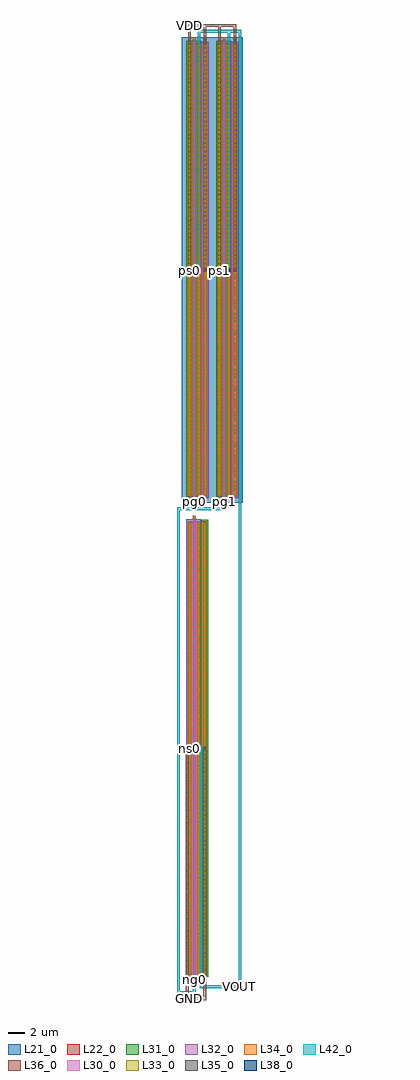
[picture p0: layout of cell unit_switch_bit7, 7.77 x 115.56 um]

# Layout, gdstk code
import gdstk
lib = gdstk.Library(unit=1e-6, precision=1e-09)
def R(c, l, rs):  # rectangles x0, y0, x1, y1
    for r in rs: c.add(gdstk.rectangle(r[:2], r[2:], *l))
def A(c, l, x, y, w, h, nx, ny, dx, dy):  # array of equal rectangles
    R(c, l, [(x+i*dx, y+j*dy, x+i*dx+w, y+j*dy+h) for i in range(nx) for j in range(ny)])
L21_0 = (21, 0)
L22_0 = (22, 0)
L30_0 = (30, 0)
L31_0 = (31, 0)
L32_0 = (32, 0)
L33_0 = (33, 0)
L34_0 = (34, 0)
L35_0 = (35, 0)
L36_0 = (36, 0)
L38_0 = (38, 0)
L42_0 = (42, 0)

unit_switch_bit7 = lib.new_cell('unit_switch_bit7')
R(unit_switch_bit7, L21_0, [(-1.15,-0.69,2.54,54.45), (2.39,-0.69,6.08,54.45)])
R(unit_switch_bit7, L22_0, [(-0.42,-56.62,0,-2.86), (0,-56.62,0.66,-2.86), (0.66,-56.62,1.08,-2.86), (1.08,-56.62,1.79,-2.86), (-0.46,0,0,53.76), (0,0,0.66,53.76), (0.66,0,1.12,53.76), (1.12,0,1.85,53.76), (3.08,0,3.54,53.76), (3.54,0,4.2,53.76), (4.2,0,4.66,53.76), (4.66,0,5.39,53.76)])
R(unit_switch_bit7, L30_0, [(0.15,-57.28,0.51,-56.92), (0.19,-56.92,0.47,-2.56), (0.15,-2.56,0.51,-2.2), (0.14,-0.68,0.52,-0.3), (3.68,-0.68,4.06,-0.3), (0.19,-0.3,0.47,54.06), (3.73,-0.3,4.01,54.06), (0.14,54.06,0.52,54.44), (3.68,54.06,4.06,54.44)])
R(unit_switch_bit7, L31_0, [(1.08,-56.79,1.96,-2.69), (-0.63,-0.24,1.12,54), (2.91,-0.24,4.66,54)])
R(unit_switch_bit7, L32_0, [(-0.59,-56.86,1.08,-2.62), (1.12,-0.17,2.02,53.93), (4.66,-0.17,5.56,53.93)])
A(unit_switch_bit7, L33_0, -0.32, -56.37, 0.22, 0.22, 1, 105, 0, 0.51)
A(unit_switch_bit7, L33_0, 0.76, -56.37, 0.22, 0.22, 1, 105, 0, 0.51)
A(unit_switch_bit7, L33_0, 1.47, -56.37, 0.22, 0.22, 1, 105, 0, 0.51)
A(unit_switch_bit7, L33_0, -0.34, 0.25, 0.22, 0.22, 1, 105, 0, 0.51)
A(unit_switch_bit7, L33_0, 0.78, 0.25, 0.22, 0.22, 1, 105, 0, 0.51)
A(unit_switch_bit7, L33_0, 1.51, 0.25, 0.22, 0.22, 1, 105, 0, 0.51)
A(unit_switch_bit7, L33_0, 3.2, 0.25, 0.22, 0.22, 1, 105, 0, 0.51)
A(unit_switch_bit7, L33_0, 4.32, 0.25, 0.22, 0.22, 1, 105, 0, 0.51)
A(unit_switch_bit7, L33_0, 5.05, 0.25, 0.22, 0.22, 1, 105, 0, 0.51)
R(unit_switch_bit7, L33_0, [(0.22,-57.21,0.44,-56.99), (0.22,-2.49,0.44,-2.27), (0.22,-0.6,0.44,-0.38), (3.76,-0.6,3.98,-0.38), (0.22,54.14,0.44,54.36), (3.76,54.14,3.98,54.36)])
R(unit_switch_bit7, L34_0, [(0.1,-57.33,0.56,-56.87), (0.14,-57.29,0.52,-56.91), (-0.4,-56.45,-0.02,-3.03), (0.68,-56.45,1.06,-3.03), (1.39,-56.45,1.77,-3.03), (-0.44,-29.97,0.02,-29.51), (0.64,-29.97,1.1,-29.51), (1.35,-29.97,1.81,-29.51), (0.14,-2.57,0.52,-2.19), (0.1,-0.72,0.56,-0.26), (3.64,-0.72,4.1,-0.26), (0.14,-0.68,0.52,-0.3), (3.68,-0.68,4.06,-0.3), (-0.42,0.17,-0.04,53.59), (0.7,0.17,1.08,53.59), (1.43,0.17,1.81,53.59), (3.12,0.17,3.5,53.59), (4.24,0.17,4.62,53.59), (4.97,0.17,5.35,53.59), (-0.46,26.65,0,27.11), (0.66,26.65,1.12,27.11), (1.39,26.65,1.85,27.11), (3.08,26.65,3.54,27.11), (4.2,26.65,4.66,27.11), (4.93,26.65,5.39,27.11), (0.14,54.06,0.52,54.44), (3.68,54.06,4.06,54.44)])
R(unit_switch_bit7, L35_0, [(0.2,-57.23,0.46,-56.97), (-0.34,-29.87,-0.08,-29.61), (0.74,-29.87,1,-29.61), (1.45,-29.87,1.71,-29.61), (0.2,-0.62,0.46,-0.36), (3.74,-0.62,4,-0.36), (-0.36,26.75,-0.1,27.01), (0.76,26.75,1.02,27.01), (1.49,26.75,1.75,27.01), (3.18,26.75,3.44,27.01), (4.3,26.75,4.56,27.01), (5.03,26.75,5.29,27.01)])
R(unit_switch_bit7, L36_0, [(-0.67,-59.55,-0.05,-59.23), (-0.67,-59.55,-0.35,-29.58), (-0.37,-59.55,1.74,-59.23), (1.42,-59.55,1.74,-29.58), (0.135,-57.295,0.525,-56.905), (-0.405,-29.935,-0.015,-29.545), (0.675,-29.935,1.065,-29.545), (1.385,-29.935,1.775,-29.545), (-0.67,-29.9,-0.05,-29.58), (0.135,-0.685,0.525,-0.295), (3.675,-0.685,4.065,-0.295), (-0.425,26.685,-0.035,27.075), (0.695,26.685,1.085,27.075), (1.425,26.685,1.815,27.075), (3.115,26.685,3.505,27.075), (4.235,26.685,4.625,27.075), (4.965,26.685,5.355,27.075), (-0.39,26.72,-0.07,56.01), (1.46,26.72,1.78,56.01), (3.15,26.72,3.47,56.01), (5,26.72,5.32,56.01), (-0.39,55.69,-0.07,56.01), (-0.39,55.69,3.47,56.01), (-0.39,55.69,1.78,56.01), (-0.39,55.69,5.32,56.01)])
R(unit_switch_bit7, L38_0, [(0.2,-57.23,0.46,-56.97), (0.74,-29.87,1,-29.61), (0.2,-0.62,0.46,-0.36), (3.74,-0.62,4,-0.36), (0.76,26.75,1.02,27.01), (4.3,26.75,4.56,27.01)])
R(unit_switch_bit7, L42_0, [(-1.69,-58.85,0.49,-58.53), (-1.69,-58.85,-1.37,-1.23), (0.17,-58.85,0.49,-56.94), (1.01,-58.15,1.33,-29.58), (1.01,-58.15,5.89,-57.83), (5.57,-58.15,5.89,55.31), (0.135,-57.295,0.525,-56.905), (0.675,-29.935,1.065,-29.545), (0.71,-29.9,1.33,-29.58), (-1.69,-1.55,0.49,-1.23), (-1.69,-1.55,4.03,-1.23), (0.17,-1.55,0.49,-0.33), (3.71,-1.55,4.03,-0.33), (0.135,-0.685,0.525,-0.295), (3.675,-0.685,4.065,-0.295), (0.695,26.685,1.085,27.075), (4.235,26.685,4.625,27.075), (0.73,26.72,1.05,55.31), (4.27,26.72,4.59,55.31), (0.73,54.99,5.89,55.31), (4.27,54.99,5.89,55.31)])
unit_switch_bit7.add(gdstk.Label('ps0', (-0.23,26.88), layer=34, texttype=10))
unit_switch_bit7.add(gdstk.Label('pd0', (0.89,26.88), layer=34, texttype=10))
unit_switch_bit7.add(gdstk.Label('pg0', (0.33,-0.49), layer=34, texttype=10))
unit_switch_bit7.add(gdstk.Label('pvdd0', (1.62,26.88), layer=34, texttype=10))
unit_switch_bit7.add(gdstk.Label('ps1', (3.31,26.88), layer=34, texttype=10))
unit_switch_bit7.add(gdstk.Label('pd1', (4.43,26.88), layer=34, texttype=10))
unit_switch_bit7.add(gdstk.Label('pg1', (3.87,-0.49), layer=34, texttype=10))
unit_switch_bit7.add(gdstk.Label('pvdd1', (5.16,26.88), layer=34, texttype=10))
unit_switch_bit7.add(gdstk.Label('ns0', (-0.21,-29.741), layer=34, texttype=10))
unit_switch_bit7.add(gdstk.Label('nd0', (0.87,-29.741), layer=34, texttype=10))
unit_switch_bit7.add(gdstk.Label('ng0', (0.33,-57.101), layer=34, texttype=10))
unit_switch_bit7.add(gdstk.Label('ngnd0', (1.58,-29.741), layer=34, texttype=10))
unit_switch_bit7.add(gdstk.Label('VDD', (-0.23,55.85), layer=34, texttype=10))
unit_switch_bit7.add(gdstk.Label('GND', (-0.21,-59.392), layer=34, texttype=10))
unit_switch_bit7.add(gdstk.Label('VOUT', (5.73,-57.992), layer=34, texttype=10))
unit_switch_bit7.add(gdstk.Label('bN_bar', (-1.53,-58.692), layer=34, texttype=10))

lib.write_gds('unit_switch_bit7.gds')
